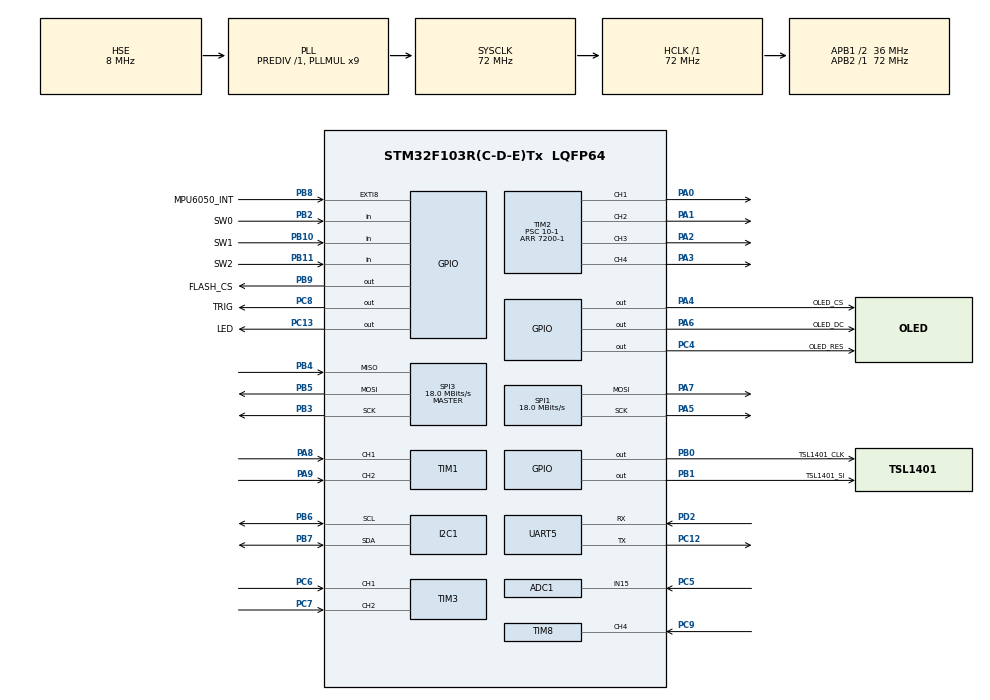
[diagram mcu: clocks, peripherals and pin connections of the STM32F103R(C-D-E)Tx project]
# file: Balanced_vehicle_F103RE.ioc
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ADC1.Channel-1\#ChannelRegularConversion=ADC_CHANNEL_15
ADC1.NbrOfConversionFlag=1
ADC1.Rank-1\#ChannelRegularConversion=1
ADC1.SamplingTime-1\#ChannelRegularConversion=ADC_SAMPLETIME_239CYCLES_5
ADC1.master=1
Dma.Request0=SPI1_TX
Dma.SPI1_TX.0.Direction=DMA_MEMORY_TO_PERIPH
Dma.SPI1_TX.0.Instance=DMA1_Channel3
Dma.SPI1_TX.0.MemDataAlignment=DMA_MDATAALIGN_BYTE
Dma.SPI1_TX.0.MemInc=DMA_MINC_ENABLE
Dma.SPI1_TX.0.Mode=DMA_NORMAL
Dma.SPI1_TX.0.PeriphDataAlignment=DMA_PDATAALIGN_BYTE
Dma.SPI1_TX.0.PeriphInc=DMA_PINC_DISABLE
Dma.SPI1_TX.0.Priority=DMA_PRIORITY_LOW
FREERTOS.Mutexes01=lvgl_mutex,Dynamic,NULL
FREERTOS.Queues01=pitch_queue,1,float,0,Dynamic,NULL,NULL;speed_loop_OUT_queue,1,float,0,Dynamic,NULL,NULL;Motor_isEnable_queue,1,uint8_t,0,Dynamic,NULL,NULL;Speed_difference_OUT_queue,1,int16_t,0,Dynamic,NULL,NULL;target_speed_Queue,1,float,0,Dynamic,NULL,NULL;target_speed_difference_Queue,1,float,0,Dynamic,NULL,NULL
FREERTOS.Tasks01=defaultTask,10,600,StartDefaultTask,Default,NULL,Dynamic,NULL,NULL;myTask02,48,500,Upright_ring_Task,Default,NULL,Dynamic,NULL,NULL;myTask03,49,500,Speed_loop_Task,Default,NULL,Dynamic,NULL,NULL;TSL1401Screen,10,256,TSL1401Screen_Task,Default,NULL,Dynamic,NULL,NULL
FREERTOS.configTOTAL_HEAP_SIZE=10000
I2C1.I2C_Mode=I2C_Fast
Mcu.Family=STM32F1
Mcu.Name=STM32F103R(C-D-E)Tx
Mcu.Package=LQFP64
NVIC.ADC1_2_IRQn=true\:5\:0\:false\:false\:true\:true\:true\:true\:true
NVIC.DMA1_Channel3_IRQn=true\:5\:0\:false\:false\:true\:true\:false\:true\:true
NVIC.PriorityGroup=NVIC_PRIORITYGROUP_4
NVIC.SPI1_IRQn=true\:5\:0\:false\:false\:true\:true\:true\:true\:true
NVIC.TIM6_IRQn=true\:1\:0\:true\:false\:true\:false\:false\:true\:true
NVIC.TIM7_IRQn=true\:5\:0\:false\:false\:true\:true\:true\:true\:true
NVIC.TimeBase=TIM6_IRQn
NVIC.TimeBaseIP=TIM6
PA0-WKUP.Signal=S_TIM2_CH1_ETR
PA1.Signal=S_TIM2_CH2
PA13.Mode=Serial_Wire
PA13.Signal=SYS_JTMS-SWDIO
PA14.Mode=Serial_Wire
PA14.Signal=SYS_JTCK-SWCLK
PA2.Signal=S_TIM2_CH3
PA3.Signal=S_TIM2_CH4
PA4.GPIO_Label=OLED_CS
PA4.Signal=GPIO_Output
PA5.Mode=TX_Only_Simplex_Unidirect_Master
PA5.Signal=SPI1_SCK
PA6.GPIO_Label=OLED_DC
PA6.Signal=GPIO_Output
PA7.Mode=TX_Only_Simplex_Unidirect_Master
PA7.Signal=SPI1_MOSI
PA8.Signal=S_TIM1_CH1
PA9.Signal=S_TIM1_CH2
PB0.GPIO_Label=TSL1401_CLK
PB0.Signal=GPIO_Output
PB1.GPIO_Label=TSL1401_SI
PB1.Signal=GPIO_Output
PB10.GPIO_Label=SW1
PB10.GPIO_PuPd=GPIO_PULLUP
PB10.Signal=GPIO_Input
PB11.GPIO_Label=SW2
PB11.GPIO_PuPd=GPIO_PULLUP
PB11.Signal=GPIO_Input
PB2.GPIO_Label=SW0
PB2.GPIO_PuPd=GPIO_PULLUP
PB2.Signal=GPIO_Input
PB3.Mode=Full_Duplex_Master
PB3.Signal=SPI3_SCK
PB4.Mode=Full_Duplex_Master
PB4.Signal=SPI3_MISO
PB5.Mode=Full_Duplex_Master
PB5.Signal=SPI3_MOSI
PB6.Mode=I2C
PB6.Signal=I2C1_SCL
PB7.Mode=I2C
PB7.Signal=I2C1_SDA
PB8.GPIO_Label=MPU6050_INT
PB8.Signal=GPXTI8
PB9.GPIO_Label=FLASH_CS
PB9.Signal=GPIO_Output
PC12.Mode=Asynchronous
PC12.Signal=UART5_TX
PC13-TAMPER-RTC.GPIO_Label=LED
PC13-TAMPER-RTC.Signal=GPIO_Output
PC4.GPIO_Label=OLED_RES
PC4.Signal=GPIO_Output
PC5.Signal=ADCx_IN15
PC6.Signal=S_TIM3_CH1
PC7.Signal=S_TIM3_CH2
PC8.GPIO_Label=TRIG
PC8.Signal=GPIO_Output
PC9.Signal=S_TIM8_CH4
PD0-OSC_IN.Mode=HSE-External-Oscillator
PD0-OSC_IN.Signal=RCC_OSC_IN
PD1-OSC_OUT.Mode=HSE-External-Oscillator
PD1-OSC_OUT.Signal=RCC_OSC_OUT
PD2.Mode=Asynchronous
PD2.Signal=UART5_RX
ProjectManager.HeapSize=0x1000
ProjectManager.StackSize=0x1000
ProjectManager.TargetToolchain=MDK-ARM V5
RCC.ADCPresc=RCC_ADCPCLK2_DIV6
RCC.AHBFreq_Value=72000000
RCC.APB1CLKDivider=RCC_HCLK_DIV2
RCC.APB1Freq_Value=36000000
RCC.APB1TimFreq_Value=72000000
RCC.APB2Freq_Value=72000000
RCC.APB2TimFreq_Value=72000000
RCC.HCLKFreq_Value=72000000
RCC.PLLMUL=RCC_PLL_MUL9
RCC.PLLSourceVirtual=RCC_PLLSOURCE_HSE
RCC.SYSCLKFreq_VALUE=72000000
RCC.SYSCLKSource=RCC_SYSCLKSOURCE_PLLCLK
RCC.USBFreq_Value=72000000
SH.ADCx_IN15.0=ADC1_IN15,IN15
SH.S_TIM1_CH1.0=TIM1_CH1,Encoder_Interface
SH.S_TIM1_CH2.0=TIM1_CH2,Encoder_Interface
SH.S_TIM2_CH1_ETR.0=TIM2_CH1,PWM Generation1 CH1
SH.S_TIM2_CH2.0=TIM2_CH2,PWM Generation2 CH2
SH.S_TIM2_CH3.0=TIM2_CH3,PWM Generation3 CH3
SH.S_TIM2_CH4.0=TIM2_CH4,PWM Generation4 CH4
SH.S_TIM3_CH1.0=TIM3_CH1,Encoder_Interface
SH.S_TIM3_CH2.0=TIM3_CH2,Encoder_Interface
SH.S_TIM8_CH4.0=TIM8_CH4,Input_Capture4_from_TI4
SPI1.BaudRatePrescaler=SPI_BAUDRATEPRESCALER_4
SPI1.CalculateBaudRate=18.0 MBits/s
SPI1.Direction=SPI_DIRECTION_2LINES
SPI1.Mode=SPI_MODE_MASTER
SPI1.VirtualType=VM_MASTER
SPI3.CalculateBaudRate=18.0 MBits/s
SPI3.Direction=SPI_DIRECTION_2LINES
SPI3.Mode=SPI_MODE_MASTER
SPI3.VirtualType=VM_MASTER
TIM1.CounterMode=TIM_COUNTERMODE_UP
TIM1.EncoderMode=TIM_ENCODERMODE_TI12
TIM1.IC1Filter=3
TIM1.IC1Polarity=TIM_ICPOLARITY_FALLING
TIM1.IC2Filter=3
TIM1.IC2Polarity=TIM_ICPOLARITY_RISING
TIM2.AutoReloadPreload=TIM_AUTORELOAD_PRELOAD_ENABLE
TIM2.Channel-PWM\ Generation1\ CH1=TIM_CHANNEL_1
TIM2.Channel-PWM\ Generation2\ CH2=TIM_CHANNEL_2
TIM2.Channel-PWM\ Generation3\ CH3=TIM_CHANNEL_3
TIM2.Channel-PWM\ Generation4\ CH4=TIM_CHANNEL_4
TIM2.Period=7200-1
TIM2.Prescaler=10-1
TIM3.EncoderMode=TIM_ENCODERMODE_TI12
TIM3.IC1Filter=3
TIM3.IC1Polarity=TIM_ICPOLARITY_RISING
TIM3.IC2Filter=3
TIM3.IC2Polarity=TIM_ICPOLARITY_FALLING
TIM7.AutoReloadPreload=TIM_AUTORELOAD_PRELOAD_ENABLE
TIM7.Period=10-1
TIM7.Prescaler=7200-1
TIM8.Channel-Input_Capture4_from_TI4=TIM_CHANNEL_4
UART5.VirtualMode=Asynchronous
VP_FREERTOS_VS_CMSIS_V2.Mode=CMSIS_V2
VP_SYS_VS_tim6.Mode=TIM6
VP_TIM2_VS_ClockSourceINT.Mode=Internal
VP_TIM7_VS_ClockSourceINT.Mode=Enable_Timer
board=custom

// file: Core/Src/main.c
/* USER CODE BEGIN Header */
/**
  ******************************************************************************
  * @file           : main.c
  * @brief          : Main program body
  ******************************************************************************
  * @attention
  *
  * Copyright (c) 2023 STMicroelectronics.
  * All rights reserved.
  *
  * This software is licensed under terms that can be found in the LICENSE file
  * in the root directory of this software component.
  * If no LICENSE file comes with this software, it is provided AS-IS.
  *
  ******************************************************************************
  */
/* USER CODE END Header */
#include "main.h"
#include "cmsis_os.h"
#include "adc.h"
#include "dma.h"
#include "i2c.h"
#include "spi.h"
#include "tim.h"
#include "usart.h"
#include "gpio.h"

/* USER CODE BEGIN Includes */
#include "ssd1306.h"
#include "mpu6050.h"
#include "stdio.h"
#include "lvgl.h"
#include "lv_port_disp.h"
#include "lv_port_indev.h"
#include "ui.h"
#include "tsl1401.h"
/* USER CODE END Includes */

/* USER CODE BEGIN PV */
lv_group_t *group;
/* USER CODE END PV */

void SystemClock_Config(void);
void MX_FREERTOS_Init(void);

int main(void)
{

  /* MCU Configuration--------------------------------------------------------*/

  /* Reset of all peripherals, Initializes the Flash interface and the Systick. */
  HAL_Init();

  /* Configure the system clock */
  SystemClock_Config();

  /* Initialize all configured peripherals */
  MX_GPIO_Init();
  MX_DMA_Init();
  MX_ADC1_Init();
  MX_I2C1_Init();
  MX_SPI1_Init();
  MX_SPI3_Init();
  MX_TIM2_Init();
  MX_TIM3_Init();
  MX_UART5_Init();
  MX_TIM1_Init();
  MX_TIM8_Init();
  MX_TIM7_Init();
  /* USER CODE BEGIN 2 */
    MPU6050_Init();
    MPU6050_DMP_Init();
    HAL_TIM_PWM_Start(&htim2, TIM_CHANNEL_1);
    HAL_TIM_PWM_Start(&htim2, TIM_CHANNEL_2);
    HAL_TIM_PWM_Start(&htim2, TIM_CHANNEL_3);
    HAL_TIM_PWM_Start(&htim2, TIM_CHANNEL_4);
    HAL_TIM_Encoder_Start(&htim1, TIM_CHANNEL_ALL);
    HAL_TIM_Encoder_Start(&htim3, TIM_CHANNEL_ALL);
    __HAL_TIM_SetCounter(&htim1, 30000);
    __HAL_TIM_SetCounter(&htim3, 30000);
    lv_init();
    group=lv_group_create();//放输入设备初始化前面
    lv_group_set_default(group);//放输入设备初始化前面
    lv_port_disp_init();
    lv_port_indev_init();

    HAL_TIM_Base_Start_IT(&htim7);

  /* USER CODE END 2 */

  /* Init scheduler */
  osKernelInitialize();  /* Call init function for freertos objects (in freertos.c) */
  MX_FREERTOS_Init();

  /* Start scheduler */
  osKernelStart();
  /* We should never get here as control is now taken by the scheduler */
  /* Infinite loop */
  while (1)
  {

  }
}

void SystemClock_Config(void)
{
  RCC_OscInitTypeDef RCC_OscInitStruct = {0};
  RCC_ClkInitTypeDef RCC_ClkInitStruct = {0};
  RCC_PeriphCLKInitTypeDef PeriphClkInit = {0};

  /** Initializes the RCC Oscillators according to the specified parameters
  * in the RCC_OscInitTypeDef structure.
  */
  RCC_OscInitStruct.OscillatorType = RCC_OSCILLATORTYPE_HSE;
  RCC_OscInitStruct.HSEState = RCC_HSE_ON;
  RCC_OscInitStruct.HSEPredivValue = RCC_HSE_PREDIV_DIV1;
  RCC_OscInitStruct.HSIState = RCC_HSI_ON;
  RCC_OscInitStruct.PLL.PLLState = RCC_PLL_ON;
  RCC_OscInitStruct.PLL.PLLSource = RCC_PLLSOURCE_HSE;
  RCC_OscInitStruct.PLL.PLLMUL = RCC_PLL_MUL9;
  if (HAL_RCC_OscConfig(&RCC_OscInitStruct) != HAL_OK)
  {
    Error_Handler();
  }

  /** Initializes the CPU, AHB and APB buses clocks
  */
  RCC_ClkInitStruct.ClockType = RCC_CLOCKTYPE_HCLK|RCC_CLOCKTYPE_SYSCLK
                              |RCC_CLOCKTYPE_PCLK1|RCC_CLOCKTYPE_PCLK2;
  RCC_ClkInitStruct.SYSCLKSource = RCC_SYSCLKSOURCE_PLLCLK;
  RCC_ClkInitStruct.AHBCLKDivider = RCC_SYSCLK_DIV1;
  RCC_ClkInitStruct.APB1CLKDivider = RCC_HCLK_DIV2;
  RCC_ClkInitStruct.APB2CLKDivider = RCC_HCLK_DIV1;

  if (HAL_RCC_ClockConfig(&RCC_ClkInitStruct, FLASH_LATENCY_2) != HAL_OK)
  {
    Error_Handler();
  }
  PeriphClkInit.PeriphClockSelection = RCC_PERIPHCLK_ADC;
  PeriphClkInit.AdcClockSelection = RCC_ADCPCLK2_DIV6;
  if (HAL_RCCEx_PeriphCLKConfig(&PeriphClkInit) != HAL_OK)
  {
    Error_Handler();
  }
}

/* USER CODE BEGIN 4 */

void HAL_SPI_TxCpltCallback(SPI_HandleTypeDef *hspi){
    if(hspi->Instance == SPI1){
        HAL_GPIO_WritePin(OLED_CS_GPIO_Port, OLED_CS_Pin, GPIO_PIN_SET); // select OLED
        lv_disp_flush_ready(lv_disp_get_default()->driver);

    }
}
void                    HAL_ADC_ConvCpltCallback(ADC_HandleTypeDef* hadc){
    if(hadc->Instance == ADC1){
        tsl1401_adc_callback();
    }
}

/* USER CODE END 4 */

void HAL_TIM_PeriodElapsedCallback(TIM_HandleTypeDef *htim)
{
  if (htim->Instance == TIM6) {
    HAL_IncTick();
  }
  /* USER CODE BEGIN Callback 1 */
    else if (htim->Instance == TIM7) {
    lv_tick_inc(1);
  }
  /* USER CODE END Callback 1 */
}

void Error_Handler(void)
{
  __disable_irq();
  while (1)
  {
  }
}

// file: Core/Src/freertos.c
/* USER CODE BEGIN Header */
/**
 ******************************************************************************
 * File Name          : freertos.c
 * Description        : Code for freertos applications
 ******************************************************************************
 * @attention
 *
 * Copyright (c) 2023 STMicroelectronics.
 * All rights reserved.
 *
 * This software is licensed under terms that can be found in the LICENSE file
 * in the root directory of this software component.
 * If no LICENSE file comes with this software, it is provided AS-IS.
 *
 ******************************************************************************
 */
/* USER CODE END Header */

#include "FreeRTOS.h"
#include "task.h"
#include "main.h"
#include "cmsis_os.h"

/* USER CODE BEGIN Includes */
#include "mpu6050.h"
#include "ssd1306.h"
#include "tim.h"
#include "pid.h"
#include "stdio.h"
#include "myfunc.h"
#include "queue.h"
#include "lvgl.h"
#include "ui.h"
#include "tsl1401.h"
/* USER CODE END Includes */

/* Definitions for defaultTask */
osThreadId_t defaultTaskHandle;
const osThreadAttr_t defaultTask_attributes = {
  .name = "defaultTask",
  .stack_size = 600 * 4,
  .priority = (osPriority_t) osPriorityLow2,
};
/* Definitions for myTask02 */
osThreadId_t myTask02Handle;
const osThreadAttr_t myTask02_attributes = {
  .name = "myTask02",
  .stack_size = 500 * 4,
  .priority = (osPriority_t) osPriorityRealtime,
};
/* Definitions for myTask03 */
osThreadId_t myTask03Handle;
const osThreadAttr_t myTask03_attributes = {
  .name = "myTask03",
  .stack_size = 500 * 4,
  .priority = (osPriority_t) osPriorityRealtime1,
};
/* Definitions for TSL1401Screen */
osThreadId_t TSL1401ScreenHandle;
const osThreadAttr_t TSL1401Screen_attributes = {
  .name = "TSL1401Screen",
  .stack_size = 256 * 4,
  .priority = (osPriority_t) osPriorityLow2,
};
/* Definitions for pitch_queue */
osMessageQueueId_t pitch_queueHandle;
const osMessageQueueAttr_t pitch_queue_attributes = {
  .name = "pitch_queue"
};
/* Definitions for speed_loop_OUT_queue */
osMessageQueueId_t speed_loop_OUT_queueHandle;
const osMessageQueueAttr_t speed_loop_OUT_queue_attributes = {
  .name = "speed_loop_OUT_queue"
};
/* Definitions for Motor_isEnable_queue */
osMessageQueueId_t Motor_isEnable_queueHandle;
const osMessageQueueAttr_t Motor_isEnable_queue_attributes = {
  .name = "Motor_isEnable_queue"
};
/* Definitions for Speed_difference_OUT_queue */
osMessageQueueId_t Speed_difference_OUT_queueHandle;
const osMessageQueueAttr_t Speed_difference_OUT_queue_attributes = {
  .name = "Speed_difference_OUT_queue"
};
/* Definitions for target_speed_Queue */
osMessageQueueId_t target_speed_QueueHandle;
const osMessageQueueAttr_t target_speed_Queue_attributes = {
  .name = "target_speed_Queue"
};
/* Definitions for target_speed_difference_Queue */
osMessageQueueId_t target_speed_difference_QueueHandle;
const osMessageQueueAttr_t target_speed_difference_Queue_attributes = {
  .name = "target_speed_difference_Queue"
};
/* Definitions for lvgl_mutex */
osMutexId_t lvgl_mutexHandle;
const osMutexAttr_t lvgl_mutex_attributes = {
  .name = "lvgl_mutex"
};

void StartDefaultTask(void *argument);
void Upright_ring_Task(void *argument);
void Speed_loop_Task(void *argument);
void TSL1401Screen_Task(void *argument);

void MX_FREERTOS_Init(void); /* (MISRA C 2004 rule 8.1) */

void MX_FREERTOS_Init(void) {
  /* Create the mutex(es) */
  /* creation of lvgl_mutex */
  lvgl_mutexHandle = osMutexNew(&lvgl_mutex_attributes);

  /* Create the queue(s) */
  /* creation of pitch_queue */
  pitch_queueHandle = osMessageQueueNew (1, sizeof(float), &pitch_queue_attributes);

  /* creation of speed_loop_OUT_queue */
  speed_loop_OUT_queueHandle = osMessageQueueNew (1, sizeof(float), &speed_loop_OUT_queue_attributes);

  /* creation of Motor_isEnable_queue */
  Motor_isEnable_queueHandle = osMessageQueueNew (1, sizeof(uint8_t), &Motor_isEnable_queue_attributes);

  /* creation of Speed_difference_OUT_queue */
  Speed_difference_OUT_queueHandle = osMessageQueueNew (1, sizeof(int16_t), &Speed_difference_OUT_queue_attributes);

  /* creation of target_speed_Queue */
  target_speed_QueueHandle = osMessageQueueNew (1, sizeof(float), &target_speed_Queue_attributes);

  /* creation of target_speed_difference_Queue */
  target_speed_difference_QueueHandle = osMessageQueueNew (1, sizeof(float), &target_speed_difference_Queue_attributes);

  /* Create the thread(s) */
  /* creation of defaultTask */
  defaultTaskHandle = osThreadNew(StartDefaultTask, NULL, &defaultTask_attributes);

  /* creation of myTask02 */
  myTask02Handle = osThreadNew(Upright_ring_Task, NULL, &myTask02_attributes);

  /* creation of myTask03 */
  myTask03Handle = osThreadNew(Speed_loop_Task, NULL, &myTask03_attributes);

  /* creation of TSL1401Screen */
  TSL1401ScreenHandle = osThreadNew(TSL1401Screen_Task, NULL, &TSL1401Screen_attributes);

  /* USER CODE BEGIN RTOS_EVENTS */
  /* add events, ... */
  vTaskSuspend(TSL1401ScreenHandle);
  /* USER CODE END RTOS_EVENTS */

}

void StartDefaultTask(void *argument)
{
  /* USER CODE BEGIN StartDefaultTask */
  /* Infinite loop */
  vTaskDelay(pdMS_TO_TICKS(500));
  uint32_t r;
  ui_init();
  for (;;)
  {
    osMutexAcquire(lvgl_mutexHandle, osWaitForever);
    r= lv_timer_handler();
    osMutexRelease(lvgl_mutexHandle);
    osDelay(r);

  }
  /* USER CODE END StartDefaultTask */
}

/* USER CODE BEGIN Header_Upright_ring_Task */
pid_handler Upright_ring_pid,Speed_loop_pid,Steering_ring_pid;
//定义循迹转向PID
pid_handler TSL1401_pid;

/**
 * @brief Function implementing the myTask02 thread.
 * @param argument: Not used
 * @retval None
 */
/* USER CODE END Header_Upright_ring_Task */
void Upright_ring_Task(void *argument)
{
  /* USER CODE BEGIN Upright_ring_Task */
  /* Infinite loop */

  float speed_loop_OUT = 0;
  float pitch, roll, yaw;
  int16_t pwm = 0;
  uint8_t isEnable = 1;
  TickType_t xLastWakeTime=xTaskGetTickCount();
  float vSum = 0;
  int16_t Speed_difference_OUT;
  // pid_init(&Upright_ring_pid, 720, 0.0, 3600, 7200-1, 5000);
  pid_init(&Upright_ring_pid, 992, 0.0, 7800, 7200-1, 5000);

  vTaskDelay(pdMS_TO_TICKS(3000));
  for (;;)
  {

    xQueuePeek(Motor_isEnable_queueHandle, &isEnable, 0);
    if(isEnable==0){
      motor_control(0, 0);
      vTaskDelayUntil(&xLastWakeTime, pdMS_TO_TICKS(50));
      continue;
    }
    for (uint8_t i = 0; i < 3; i++)
    {
        MPU6050_Read_DMP(&pitch, &roll, &yaw);
    }
    xQueueSend(pitch_queueHandle, &pitch, 0);
    if (pitch > 40 || pitch < -40)
    {
      motor_control(0, 0);
      vTaskDelayUntil(&xLastWakeTime, pdMS_TO_TICKS(50));
      continue;
    }

    xQueueReceive(speed_loop_OUT_queueHandle, &speed_loop_OUT, 0);
    pwm = pid_updatePD(&Upright_ring_pid, speed_loop_OUT - pitch);
    xQueueReceive(Speed_difference_OUT_queueHandle, &Speed_difference_OUT, 0);
    motor_control(pwm+Speed_difference_OUT, pwm-Speed_difference_OUT);

    vTaskDelayUntil(&xLastWakeTime, pdMS_TO_TICKS(5));
  }
  /* USER CODE END Upright_ring_Task */
}

void Speed_loop_Task(void *argument)
{
  /* USER CODE BEGIN Speed_loop_Task */
  /* Infinite loop */
  TickType_t xLastWakeTime=xTaskGetTickCount();
  float speed_loop_OUT = 0;
  int v0, v1;
  float vSum;
  int32_t Speed_difference = 0;
  int16_t Speed_difference_OUT;
  float target_speed_difference=0;
  float target_speed;
  pid_init(&Speed_loop_pid, -30, -2, 0, 70, 60);
  pid_init(&Steering_ring_pid, 40, 5, -10, 7199, 4000);
  osDelay(600);
  for(;;)
  {
    v0 = (__HAL_TIM_GetCounter(&htim1) - 30000);
    v1 = (30000-__HAL_TIM_GetCounter(&htim3));
    __HAL_TIM_SetCounter(&htim1, 30000);
    __HAL_TIM_SetCounter(&htim3, 30000);
    Speed_difference=v0-v1;
    vSum = (v0/1000.0f + v1/1000.0f)*0.3f+0.7f*vSum;
    xQueueReceive(target_speed_QueueHandle, &target_speed, 0);
    xQueueReceive(target_speed_difference_QueueHandle, &target_speed_difference, 0);
    Speed_difference_OUT= pid_update(&Steering_ring_pid, target_speed_difference-Speed_difference);
    xQueueSend(Speed_difference_OUT_queueHandle, &Speed_difference_OUT, 0);
    speed_loop_OUT = pid_updatePI (&Speed_loop_pid, target_speed - vSum);
    xQueueSend(speed_loop_OUT_queueHandle, &speed_loop_OUT, 0);
    vTaskDelayUntil(&xLastWakeTime, pdMS_TO_TICKS(50));
  }
  /* USER CODE END Speed_loop_Task */
}

/* USER CODE BEGIN Header_TSL1401Screen_Task */
extern uint16_t tsl1401_data[128];
extern uint8_t tsl1401_data_is_ready;
/**
* @brief Function implementing the myTask04 thread.
* @param argument: Not used
* @retval None
*/
/* USER CODE END Header_TSL1401Screen_Task */
void TSL1401Screen_Task(void *argument)
{
  /* USER CODE BEGIN TSL1401Screen_Task */
  /* Infinite loop */
  osMutexAcquire(lvgl_mutexHandle, osWaitForever);
  lv_chart_series_t * ui_TSL1401Chart_series=lv_chart_get_series_next(ui_TSL1401Chart,NULL);
  ui_TSL1401Chart_series->y_points=tsl1401_data;
  lv_chart_refresh(ui_TSL1401Chart);
  osMutexRelease(lvgl_mutexHandle);
  TickType_t xLastWakeTime=xTaskGetTickCount();
  pid_init(&TSL1401_pid, 1, 0, -0.4, 100, 30);
  //定义PID输出滤波
    float pid_out_filter = 0;
  for(;;)
  {
    tsl1401_start();
    while(!tsl1401_data_is_ready)
    {
      osDelay(1);
    }
    //采集完成
    for (uint8_t i = 0; i < 128; i++)
    {
      tsl1401_data[i] = (int)(tsl1401_data[i] / 2500.0f*100.0f);
    }
    osMutexAcquire(lvgl_mutexHandle, osWaitForever);
    lv_chart_refresh(ui_TSL1401Chart);
    osMutexRelease(lvgl_mutexHandle);
    //for循环找到tsl1401_data数组里的最小值
    uint8_t min = 0;
    for (uint8_t i = 0; i < 128; i++)
    {
      if (tsl1401_data[i] < tsl1401_data[min])
      {
        min = i;
      }
    }
    //定义tsl1401_data平均值变量
    float tsl1401_data_average = 0;
    //for循环计算tsl1401_data平均值
    for (uint8_t i = 0; i < 128; i++)
    {
      tsl1401_data_average += tsl1401_data[i];
    }
    tsl1401_data_average /= 128.0;

    //如果平均值与最小值差距在10以外，执行循迹转向PID
    if (tsl1401_data_average - tsl1401_data[min]>30)
    {

      //计算循迹转向PID
      float TSL1401_pid_out = pid_update(&TSL1401_pid, min - 64);
        //PID输出滤波
        pid_out_filter = pid_out_filter * 0.9 + TSL1401_pid_out * 0.1;
      //发送循迹转向PID
      xQueueSend(target_speed_difference_QueueHandle, &pid_out_filter, 0);
    }

    vTaskDelayUntil(&xLastWakeTime, pdMS_TO_TICKS(50));
  }
  /* USER CODE END TSL1401Screen_Task */
}
